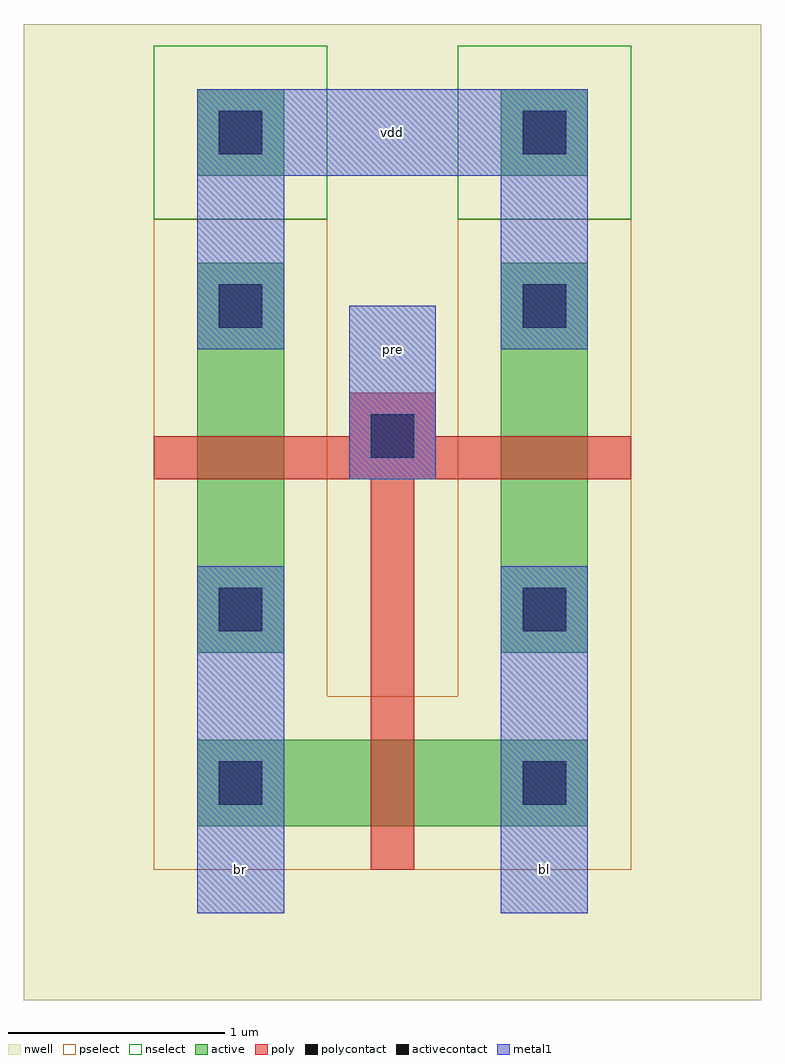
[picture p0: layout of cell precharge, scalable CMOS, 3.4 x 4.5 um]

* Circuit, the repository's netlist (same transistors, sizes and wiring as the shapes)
* SPICE3 file created from precharge.ext - technology: scmos

.option scale=0.1u

M1000 vdd pre br vdd pfet w=4 l=2
+  ad=64 pd=48 as=64 ps=48
M1001 bl pre br vdd pfet w=4 l=2
+  ad=64 pd=48 as=0 ps=0
M1002 vdd pre bl vdd pfet w=4 l=2
+  ad=0 pd=0 as=0 ps=0

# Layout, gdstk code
import gdstk
lib = gdstk.Library(unit=1e-6, precision=1e-09)
def R(c, l, rs):  # rectangles x0, y0, x1, y1
    for r in rs: c.add(gdstk.rectangle(r[:2], r[2:], *l))
nwell = (42, 0)
active = (43, 0)
pselect = (44, 0)
nselect = (45, 0)
poly = (46, 0)
polycontact = (47, 0)
activecontact = (48, 0)
metal1 = (49, 0)

precharge = lib.new_cell('precharge')
R(precharge, nwell, [(-0.4,1.7,3,6.2)])
R(precharge, active, [(0.4,2.5,2.2,2.9), (0.4,3.3,0.8,5.1), (1.8,3.3,2.2,5.1), (0.4,5.5,0.8,5.9), (1.8,5.5,2.2,5.9)])
R(precharge, pselect, [(0.2,2.3,2.4,3.1), (0.2,3.1,1,5.3), (1.6,3.1,2.4,5.3)])
R(precharge, nselect, [(0.2,5.3,1,6.1), (1.6,5.3,2.4,6.1)])
R(precharge, poly, [(1.2,2.3,1.4,4.1), (0.2,4.1,2.4,4.3), (1.1,4.3,1.5,4.5)])
R(precharge, polycontact, [(1.2,4.2,1.4,4.4)])
R(precharge, activecontact, [(0.5,2.6,0.7,2.8), (1.9,2.6,2.1,2.8), (0.5,3.4,0.7,3.6), (1.9,3.4,2.1,3.6), (0.5,4.8,0.7,5), (1.9,4.8,2.1,5), (0.5,5.6,0.7,5.8), (1.9,5.6,2.1,5.8)])
R(precharge, metal1, [(0.4,2.1,0.8,3.7), (1.8,2.1,2.2,3.7), (1.1,4.1,1.5,4.9), (0.4,4.7,0.8,5.5), (1.8,4.7,2.2,5.5), (0.4,5.5,2.2,5.9)])
precharge.add(gdstk.Label('bl', (2,2.3), layer=49, texttype=0))
precharge.add(gdstk.Label('vdd', (1.3,5.7), layer=49, texttype=0))
precharge.add(gdstk.Label('pre', (1.3,4.7), layer=49, texttype=0))
precharge.add(gdstk.Label('br', (0.6,2.3), layer=49, texttype=0))

lib.write_gds('precharge.gds')
